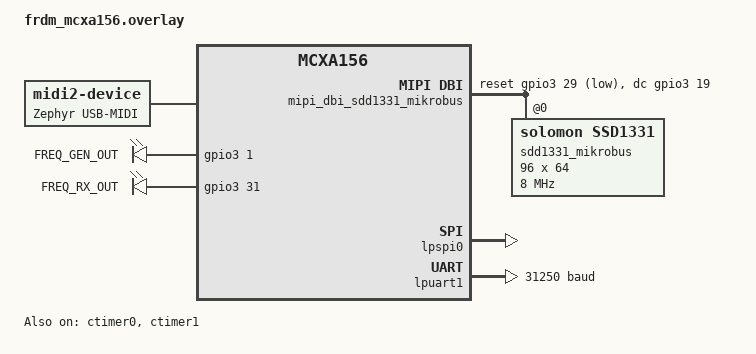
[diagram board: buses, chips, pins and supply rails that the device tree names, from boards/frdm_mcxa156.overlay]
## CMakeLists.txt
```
# @file CMakeLists.txt for MIDI1.0 driver app 
#
# @author Jan-Willem Smaal <usenet@gispen.org> 
# @date 20260119 
# SPDX-License-Identifier: Apache-2.0
cmake_minimum_required(VERSION 3.20.0)
find_package(Zephyr REQUIRED HINTS $ENV{ZEPHYR_BASE})
project(midi1_serial)

# Application logic 
FILE(GLOB app_sources src/*.c)

# Hardware and driver logic 
FILE(GLOB driver_sources drivers/*.c)

target_include_directories(app PRIVATE
	drivers
)

target_sources(app PRIVATE 
	${app_sources}
	${driver_sources}
)
```

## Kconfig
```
source "Kconfig.zephyr"
rsource "drivers/Kconfig"

# Copyright (c) 2024 Titouan Christophe
# SPDX-License-Identifier: Apache-2.0

# Copyright (c) 2023 Nordic Semiconductor ASA
# SPDX-License-Identifier: Apache-2.0

menu "USB sample options"
	depends on USB_DEVICE_STACK_NEXT

config SAMPLE_USBD_MANUFACTURER
	string "USB device sample manufacturer string"
	default "Jan-Willem Smaal"
	help
	  USB device sample manufacturer string.

config SAMPLE_USBD_PRODUCT
	string "USB device sample product string"
	default "USBD"
	help
	  USB device sample product stringa.

config SAMPLE_USBD_PID
	hex "USB device sample Product ID"
	default 0x0011
	help
	  USB device sample Product ID.

config SAMPLE_USBD_SELF_POWERED
	bool "USB device sample Self-powered attribute"
	default y
	help
	  Set the Self-powered attribute in the sample configuration.

config SAMPLE_USBD_REMOTE_WAKEUP
	bool "USB device sample Remote Wakeup attribute"
	help
	  Set the Remote Wakeup attribute in the sample configuration.

config SAMPLE_USBD_MAX_POWER
	int "USB device sample bMaxPower value"
	default 125
	range 0 250
	help
	  bMaxPower value in the sample configuration in 2 mA units.

config SAMPLE_USBD_20_EXTENSION_DESC
	bool "Use default USB 2.0 Extension Descriptor"
	depends on USBD_BOS_SUPPORT
	help
	  Set bcdUSB value to 0201 and use default USB 2.0 Extension Descriptor.

endmenu
```

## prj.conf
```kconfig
##########################################################################
# @file prj.conf
# @brief Example MIDI1.0 Zepyr application
# @note
#
# @author Jan-Willem Smaal <usenet@gispen.org
# @date 20251220
##########################################################################
CONFIG_THREAD_NAME=y
CONFIG_INIT_STACKS=y
CONFIG_STACK_SENTINEL=n
CONFIG_ASSERT=n
CONFIG_LOG=y
CONFIG_LOG_DEFAULT_LEVEL=3
CONFIG_LOG_MODE_DEFERRED=y

CONFIG_SHELL=y
CONFIG_UART_CONSOLE=y
CONFIG_CONSOLE=y
CONFIG_DEVICE_SHELL=y
CONFIG_SHELL_CMDS=y
CONFIG_KERNEL_SHELL=y
CONFIG_THREAD_MONITOR=y
CONFIG_THREAD_STACK_INFO=y
CONFIG_SYS_HEAP_RUNTIME_STATS=y



# Let's disable the boot banner because
# on the FRDM_MCXC242 overlay we use it will go out 
# the MIDI1.0 DIN port...
CONFIG_BOOT_BANNER=y

# We require serial port support with IRQ on RX.
CONFIG_SERIAL=y
CONFIG_UART_INTERRUPT_DRIVEN=y
CONFIG_MIDI1_SERIAL=y

##########################################################################
# Tune these settings to reduce the RAM footprint
##########################################################################
#CONFIG_IDLE_STACK_SIZE=128
# Heap: enough for CFB + SH1122 conversion buffer
#CONFIG_HEAP_MEM_POOL_SIZE=4096
# Stacks: enough to avoid corruption during SH1122 writes
#CONFIG_MAIN_STACK_SIZE=2048
#CONFIG_SYSTEM_WORKQUEUE_STACK_SIZE=2048
#CONFIG_ISR_STACK_SIZE=1024


##########################################################################
# Configure I2C displays 
##########################################################################
#CONFIG_I2C=y
CONFIG_DISPLAY=y
# For the board FRDM_MCXC242 I use this display SSD1306
#CONFIG_SSD1306=y
#CONFIG_SH1122=y
# If we use the board FRDM_MCXA156 we use a SSD1331
#CONFIG_SDD1331=n
#CONFIG_DISPLAY_LOG_LEVEL_DBG=y


# Enable Character Framebuffer (text rendering)
# on the FRDM_MCXC242 this will work with the SDD1306 display 
#CONFIG_HEAP_MEM_POOL_SIZE=1280

# For the SH1122 on the MCXC242 we need a lot more RAM
#CONFIG_HEAP_MEM_POOL_SIZE=4096

# trying with the FRDM_MCXA156 we use the SDD1331 display 
# this board has more RAM so let's assign a bit more. 
#CONFIG_HEAP_MEM_POOL_SIZE=2280  

#CONFIG_CHARACTER_FRAMEBUFFER=y
#CONFIG_CHARACTER_FRAMEBUFFER_USE_DEFAULT_FONTS=y

# EOF
```

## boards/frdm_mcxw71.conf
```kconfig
##########################################################################
# @brief FRDM_MCXW71 additional .conf settings
# @author Jan-Willem Smaal <usenet@gispen.org
##########################################################################

##########################################################################
# Tune these settings to reduce the RAM footprint
##########################################################################
#CONFIG_IDLE_STACK_SIZE=512
# Heap: enough for CFB + SH1122 conversion buffer
CONFIG_HEAP_MEM_POOL_SIZE=16448
# Stacks: enough to avoid corruption during SH1122 writes
#CONFIG_MAIN_STACK_SIZE=4096
#CONFIG_SYSTEM_WORKQUEUE_STACK_SIZE=2048
#CONFIG_ISR_STACK_SIZE=4096


##########################################################################
# Configure I2C displays 
##########################################################################
CONFIG_SH1122=y
CONFIG_DISPLAY_LOG_LEVEL_DBG=n
CONFIG_CHARACTER_FRAMEBUFFER=y
CONFIG_CHARACTER_FRAMEBUFFER_USE_DEFAULT_FONTS=y

# EOF
```

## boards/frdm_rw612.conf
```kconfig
##########################################################################
#0 @brief FRDM_RW612 additional .conf settings
# @author Jan-Willem Smaal <usenet@gispen.org
##########################################################################

##########################################################################
# Tune these settings to reduce the RAM footprint
##########################################################################
#CONFIG_HEAP_MEM_POOL_SIZE=60000
#CONFIG_MAIN_STACK_SIZE=409
#CONFIG_ISR_STACK_SIZE=8000

CONFIG_LOG=y
CONFIG_LVGL=y
CONFIG_LV_COLOR_DEPTH_32=y
CONFIG_DISPLAY=y

CONFIG_LOG=y
CONFIG_LVGL=y
CONFIG_LV_Z_MEM_POOL_SIZE=16384
CONFIG_DISPLAY=y
CONFIG_INPUT=y


CONFIG_LV_FONT_MONTSERRAT_12=y
CONFIG_LV_FONT_MONTSERRAT_14=y
CONFIG_LV_FONT_MONTSERRAT_16=y
CONFIG_LV_FONT_MONTSERRAT_18=y
CONFIG_LV_FONT_MONTSERRAT_24=y
CONFIG_LV_USE_FONT_COMPRESSED=y


# EOF
```

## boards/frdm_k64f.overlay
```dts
/**
 * @file frdm_k64f.overlay
 * @brief overlay for this (older) NXP board
 * @note
 * it is using a MIDI arduino shield but I disconnected
 * the 5V and connected it to 3.3V instead to protect the MCU inputs.
 * I should lower the output and input from 220R resistors to 33R but it
 * seems to "work" on some interfaces without that in some shape or form.
 *
 * @author Jan-Willem Smaal <usenet@gispen.org>
 * @date 20260102
 * SPDX-License-Identifier: Apache-2.0
 */

/*
 * Classic MIDI1.0 over DIN5 plug
 */
&uart3 {
	status = "okay";
	/* Set it to the MIDI baud rate */
	current-speed = <31250>;
};


/ {
	midi0: midi0 {
                status = "okay";
                compatible = "midi1_serial";
                uart = <&uart3>;
        };
};


/* EOF */
```

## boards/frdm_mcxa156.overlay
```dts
/**
 * @file frdm_k64f.overlay
 * @brief overlay for this board from 2024
 * @note
 *
 * Using the MCXA156 the mikroBUS socket is used for lpuart1.
 *
 * @author Jan-Willem Smaal <usenet@gispen.org>
 * @date 20260102
 * SPDX-License-Identifier: Apache-2.0
 */
&gpio3 {
	status ="okay"; 
};

/* Enable SPI on mikroBUS */
&lpspi0 {
    status = "okay";
    pinctrl-0 = <&pinmux_lpspi0>;
    pinctrl-names = "default";
};


/*
 * Classic MIDI1.0 over DIN5 plug.
 * note on the FRDM-MCXC242 the LPUART0 is shared with the MCU_LINK.
 * so be aware!   If you send printk's you need to set the baud rate
 * to 31250 from the default 115200 to see something usefull
 *
 * Also note anything you send out to the MCU_LINK will end up on the MIDI
 * port!
 *
 */
/* On the MCXA156 the mikroBUS socket J1 is on LPUART1 */
&lpuart1 {
	status = "okay";
	/* Set it to the MIDI baud rate */
	current-speed = <31250>;
};

/* We are using the periodic interrupt timer  (PIT) so switch it on */
/* DOES NOT EXIST on this board */
/*
&pit0 {
	status = "okay";
};
*/

/* Let's make sure both are enabled and act in the same way as the pit0 */
&ctimer0 {
	status = "okay";
	/* Divide 96 MHz by 4 → 24 MHz timer */
	prescale = <3>;
};
&ctimer1 {
	status = "okay";
	/* Divide 96 MHz by 4 → 24 MHz timer */
	prescale = <3>;
};

/*****************************************************************************/

/ {
	chosen {
		zephyr,display = &sdd1331_mikrobus;
};
	usb_midi: usb_midi {
		compatible = "zephyr,midi2-device";
		status = "okay";
		#address-cells = <1>;
		#size-cells = <1>;
		label = "Zephyr USB-MIDI";

		midi_in_out@0 {
			reg = <0 1>;
			protocol = "midi1-up-to-128b";
			label = "MIDI-IN-OUT";
		};
	};
	leds {
		/* Need to check pin numbers  !!! */
		compatible = "gpio-leds";
		/* Everytime a 0xF8 is sent we toggle pin C8  */
		freq_out: freq_out {
			/* gpios = <&gpioc 8 GPIO_ACTIVE_HIGH>; */
			gpios = <&gpio3 1 GPIO_ACTIVE_HIGH>;
			label = "FREQ_GEN_OUT";
		};
		/* Everytime a 0xF8 is received we toggle pin A12  */
		rx_midi_clk: rx_midi_clk{
			/* gpios = <&gpioa 12 GPIO_ACTIVE_HIGH>; */
			gpios = <&gpio3 31 GPIO_ACTIVE_HIGH>;
			label = "FREQ_RX_OUT";
		};
	};
	aliases {
		midi = &lpuart1;
		counterch0 = &ctimer0;
		counterch1 = &ctimer1;
	};
	
	/* The Display */
	mipi_dbi_sdd1331_mikrobus {
		status = "okay";
		compatible = "zephyr,mipi-dbi-spi";
		spi-dev = <&lpspi0>;
		write-only;
		#address-cells = <1>;
		#size-cells = <0>;

		/* mikroBUS GPIOs used for SPI */
		/* mikroBUS INT (pin 8) */
		dc-gpios = <&gpio3 19 GPIO_ACTIVE_HIGH>;
		/* mikroBUS RST (pin 6) */
		reset-gpios = <&gpio3 29 GPIO_ACTIVE_LOW>;

		/* Display selected via mikroBUS default CS  */
		sdd1331_mikrobus: sd1331@0 {
			status = "okay";
			compatible = "solomon,ssd1331";
			reg = <0>;
			mipi-max-frequency = <8000000>;
			width = <96>;
			height = <64>;
			mipi-mode = "MIPI_DBI_MODE_SPI_4WIRE";
			/* Default: 0 (no vertical shift) */
			display-offset = <1>;
			/* Default: 0 (start at first RAM line) */
			start-line = <0>;
			/* Default: height - 1 → 64 - 1 = 63 */
			multiplex-ratio = <63>;
			/* Default: Phase1=1, Phase2=3 → 0x31 */
			phase-length = <0x31>;
			/* Default: highest internal oscillator */
			oscillator-freq = <0xF0>;
			/* Default: 100 clocks */
			precharge-time-a = <0x64>;
			/* Default: 120 clocks */
			precharge-time-b = <0x78>;
			 /* Default: 100 clocks */
			precharge-time-c = <0x64>;
			/* Default: 0x3A (recommended) */
			precharge-voltage = <0x3A>;
			/* Default: 0x3E (recommended) */
			vcomh-voltage = <0x3E>;
			/* Default: max master current */
			current-att = <0x0F>;
			 /* Default: RGB565, normal scan, COM split */

			 /* Noise */
			/* remap-value = <0x52>; */
			remap-value = <0x60>;
			/* Works with LVGL */
			remap-value = <0x72>; 
		};
	};
};
```

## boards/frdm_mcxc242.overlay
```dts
/*
 * @brief FRDM-MCXW242 board configuration for the MIDI clock
 * @note
 * it is using a MIDI arduino shield but I disconnected
 * the 5V and connected it to 3.3V instead to protect the MCU inputs.
 * I should lower the output and input from 220R resistors to 33R but it
 * seems to "work" on some interfaces without that in some shape or form.
 *
 * @author Jan-Willem Smaal
 * @date 20250101
 * SPDX-License-Identifier: Apache-2.0
 */
 
/*
 * Classic MIDI1.0 over DIN5 plug.
 * note on the FRDM-MCXC242 the LPUART0 is shared with the MCU_LINK.
 * so be aware!   If you send printk's you need to set the baud rate
 * to 31250 from the default 115200 to see something usefull
 *
 * Also note anything you send out to the MCU_LINK will end up on the MIDI
 * port!
 *
 */
&lpuart0 {
	status = "okay";
	/* Set it to the MIDI baud rate */
	current-speed = <31250>;
};

/* This one is on the MIKRObus and is not shared with the MCU_LINK. */
&lpuart1 {
	status = "okay";
	/* Set it to the MIDI baud rate */
	current-speed = <31250>;
};

&pinctrl {
	pinmux_lpuart0: pinmux_lpuart0 {
		group0 {
			/* Strongest drive + fast edges */
			drive-strength = "high";
			slew-rate = "fast";
		};
	};
	pinmux_lpuart1: pinmux_lpuart1 {
		group0 {
			/* Strongest drive + fast edges */
			drive-strength = "high";
			slew-rate = "fast";
		};
	};
};

/* We are using the periodic interrupt timer  (PIT) so switch it on */
&pit0 {
	status = "okay";
};

/*
 * Enable these GPIO's' for the scope outputs I use this to
 * measure the clock sync on ingress and egress.
 */
&gpioa {
	status = "okay";
};

&gpioc {
	status = "okay";
};

&i2c1 {
	status = "okay";
	clock-frequency = <I2C_BITRATE_FAST>;

	ssd1306: ssd1306@3c {
		status = "okay";
		compatible = "solomon,ssd1306fb";
		reg = <0x3c>;
		label = "SSD1306";
		width = <128>;
		height = <64>;
		segment-offset = <0>; 
		page-offset = <0>;
		display-offset = <0>;
		multiplex-ratio = <63>;
		/* Had to enable this to mirror the image */ 
		com-invdir;
		/* prechargep = <0x22>; */
		/* Used for the SH1106 */
		/* prechargep = <0x1F>; */
		/* Used for the SSD1306 */
		prechargep = <0xF1>;
		/* The next one was required to flip the image */
		segment-remap;
	        inversion-on;
	        /* Critical part on the SSD1306 don't make this too long */
	        ready-time-ms = <100>;
	};
};

/* ---------------------------------------------------------------- */

/ {
	midi0: midi0 {
		status = "okay";
		compatible = "midi1_serial";
		uart = <&lpuart0>;
	};
	midi1: midi1 {
		status = "okay";
		compatible = "midi1_serial";
		uart = <&lpuart1>;
	};
	usb_midi: usb_midi {
		compatible = "zephyr,midi2-device";
		status = "okay";
		#address-cells = <1>;
		#size-cells = <1>;
		label = "Zephyr USB-MIDI";

		midi_in_out@0 {
			reg = <0 1>;
			protocol = "midi1-up-to-128b";
			label = "MIDI-IN-OUT";
		};
	};
	leds {
		compatible = "gpio-leds";
		/* Everytime a 0xF8 is sent we toggle pin C8  */
		freq_out: freq_out {
			gpios = <&gpioc 8 GPIO_ACTIVE_HIGH>;
			label = "FREQ_GEN_OUT";
		};
		/* Everytime a 0xF8 is received we toggle pin A12  */
		rx_midi_clk: rx_midi_clk{
			gpios = <&gpioa 12 GPIO_ACTIVE_HIGH>;
			label = "FREQ_RX_OUT";
		};
	};
	aliases {
		midi = &lpuart0;
		counterch0 = &pit0_channel0;
		counterch1 = &pit0_channel1;
	};
	chosen {
                zephyr,display = &ssd1306; 
        };
};
```

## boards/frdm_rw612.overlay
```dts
/*
 * Device tree overlay created for the FRDM_RW612 development kit 
 * adjusted  so that we can use it for MIDI out.  
 * by Jan-Willem Smaal <usenet@gispen.org>
 * on 20241223 
 */

/* 
 * Configured with the MIDI BAUD rate of 31250 
 * This is the USART on the MIDI arduino shield. 
 * GPIO 8 and 9. 
 */
&flexcomm1 {
	compatible = "nxp,lpc-usart";
	status = "okay";
	current-speed = <31250>;
	pinctrl-0 = <&pinmux_flexcomm1_usart>;
	pinctrl-names = "default";
};

/* 
 * We want to set flexcomm1 to USART instead of the default. 
 * this is why we need to set the pinmux here. 
 */
&pinctrl {
	pinmux_flexcomm1_usart: pinmux_flexcomm1_usart {
		group0 {
			pinmux = <IO_MUX_FC1_USART_DATA>;
			slew-rate = "normal";
		};
	};
};

/ {
	midi0: midi0 {
		status = "okay";
		compatible = "midi1_serial";
		uart = <&flexcomm1>;
	};
};

/* EOF */
```

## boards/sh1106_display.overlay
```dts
/** 
 * @brief overlay file for the SH1122 display driver
 * @author Jan-Willem Smaal <usenet@gispen.org>
 */

&i2c1{
	status = "okay";
	clock-frequency = <I2C_BITRATE_FAST>;

	sh1106: ssd1306@3c {
		status = "okay";
		// compatible = "solomon,ssd1306fb";
		compatible = "sinowealth,sh1106";
		reg = <0x3c>;
		label = "SH1106";
		width = <128>;
		height = <64>;
		segment-offset = <2>;
		page-offset = <0>;
		display-offset = <0>;
		multiplex-ratio = <63>;
		/* Had to enable this to mirror the image */ 
		com-invdir;
		/* prechargep = <0x22>; */
		prechargep = <0x1F>;
		/* The next one was required to flip the image */
		segment-remap;
	        /*	inversion-on; */
	        ready-time-ms = <100>;
	};
};


/* ---------------------------------------------------------------- */

/ {
	chosen {
                zephyr,display = &sh1106; 
        };
};
```

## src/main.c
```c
/**
 * @brief MIDI 1.0 implementation on serial UART for Zephyr
 *
 * @author Jan-Willem Smaal <usenet@gispen.org>
 * @date 20260107
 *
 * license SPDX-License-Identifier: Apache-2.0
 */
#include <stdio.h>
#include <zephyr/device.h>
#include <zephyr/kernel.h>
#include <zephyr/devicetree.h>
#include <zephyr/sys/printk.h>

/* Moved to ../drivers */
#include "midi1_serial.h"

/* Some helpers to print out the note name */
#include "note.h"

/**
 * @brief Callbacks/delegates for 'midi1_serial.c' after parsing MIDI1.0
 *
 * @note
 * Do not block in these function as they are called from the MIDI
 * parser this one is blocked untill the delegate is finished.
 * It's better if you have something running for a longer time
 * to fire off a workqueue. 
 */
void note_on_handler(uint8_t channel, uint8_t note, uint8_t velocity)
{
	printk("Note  on: %s %03d %03d\n", noteToTextWithOctave(note, false),
	       note, velocity);
}

void note_off_handler(uint8_t channel, uint8_t note, uint8_t velocity)
{
	printk("Note off: %s %03d %03d\n", noteToTextWithOctave(note, false),
	       note, velocity);
}

void pitchwheel_handler(uint8_t channel, uint8_t lsb, uint8_t msb)
{
	/* 14 bit value for the pitch wheel  */
	int16_t pwheel = (int16_t) ((msb << 7) | lsb) - PITCHWHEEL_CENTER;
	/* print on the serial out */
	printk("Pitchwheel: %d\n", pwheel);
}

void control_change_handler_model(uint8_t channel,
                                  uint8_t controller, uint8_t value)
{
	printk("CC: %d %d\n", controller, value);
}

void control_change_handler(uint8_t channel, uint8_t controller, uint8_t value)
{
	printk("CC: %d %d\n", controller, value);
}

void realtime_handler(uint8_t msg)
{
	printk("Realtime: %d\n", msg);
}

void sysex_start_handler(void)
{
	printk("sysex_start_handler()\n");
}

void sysex_data_handler(uint8_t data)
{
	printk("%x ", data);
}

void sysex_stop_handler(void)
{
	printk("\nsysex_stop_handler()\n");
}

/* ---------------------------- THREADS ------------------------------------ */

/**
 * Serial receive parser thread - receiveparser keeps reading data
 * filled by the ISR and then calls callbacks.
 */
void midi1_serial_receive_thread(void)
{
	const struct device *midi = DEVICE_DT_GET(DT_NODELABEL(midi0));

	if (!device_is_ready(midi)) {
		printk("receive_thread Serial MIDI1 device not ready\n");
		return;
	}
	const struct midi1_serial_api *mid = midi->api;

	/*
	 * Set the callbacks in the driver to our own callbacks.  Pointers
	 * left null are not used in the callbacks.
	 * e.g. right now the aftertouch is not handled.
	 */
	struct midi1_serial_callbacks my_cb = {
		.note_on = note_on_handler,
		.note_off = note_off_handler,
		.control_change = control_change_handler,
		.pitchwheel = pitchwheel_handler,
		.sysex_start = sysex_start_handler,
		.sysex_data = sysex_data_handler,
		.sysex_stop = sysex_stop_handler
	};
	/* midi1_serial_register_callbacks(midi, &my_cb); */
	mid->register_callbacks(midi, &my_cb);

	while (1) {
		/* As this call is blocking no need to sleep in between */
		mid->receiveparser(midi);
	}
}

K_THREAD_DEFINE(midi1_serial_receive_tid, 512,
                midi1_serial_receive_thread, NULL, NULL, NULL, 5, 0, 0);

/**
 * Main thread - this may actually terminate normally (code 0) in zephyr.
 * and the rest of threads keeps running just fine.
 */
int main(void)
{
	const struct device *midi = DEVICE_DT_GET(DT_NODELABEL(midi0));
	if (!device_is_ready(midi)) {
		printk("Serial MIDI1 device not ready\n");
		return 0;
	}
	/* You can either use the pointer to the API or the public interface */
	const struct midi1_serial_api *mid = midi->api;

	/* Using the API pointer */
	mid->note_on(midi, CH4, 1, 60);
	k_sleep(K_MSEC(290));

	/* Using the public interface for the driver same effect */
	midi1_serial_note_off(midi, CH4, 1, 60);
	k_sleep(K_MSEC(290));

	while (1) {
		/* Running status is used < 300 ms */
		for (uint8_t value = 0; value < 16; value++) {
			/* CC1 sweep */
			//midi1_serial_control_change(midi, CH16, 1, value);
			mid->control_change(midi, CH16, 1, value);
			k_sleep(K_MSEC(290));
		}
		/* Running status is not used > 300 ms */
		for (uint8_t value = 0; value < 16; value++) {
			/* note sweep */
			//midi1_serial_note_on(midi, CH7, value, 100);
			mid->note_on(midi, CH7, value, 100);
			k_sleep(K_MSEC(310));
		}
		/* Send as quickly as the uart poll out will allow */
		for (uint8_t value = 0; value < 16; value++) {
			/* note off sweep */
			//midi1_serial_note_off(midi, CH7, value, 100);
			mid->note_off(midi, CH7, value, 100);
		}
		for (uint8_t value = 0; value < 16; value++) {
			// midi1_serial_start(midi);
			mid->start(midi);
			k_sleep(K_MSEC(100));
			for (uint8_t i = 0; i < 128; i++) {
				// midi1_serial_timingclock(midi);
				mid->timingclock(midi);
				k_sleep(K_MSEC(20));
			}
			// midi1_serial_stop(midi);
			mid->stop(midi);
			k_sleep(K_MSEC(100));
		}
	}
	return 0;
}

/* EOF */
```

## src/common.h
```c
#ifndef COMMON_H
#define COMMON_H
/**
 * Common stuff
 *
 * @author Jan-Willem Smaal <usenet@gispen.org>
 * @date 20260107
 *
 * license SPDX-License-Identifier: Apache-2.0
 */
#include <stdio.h>
#include <zephyr/device.h>
#include <zephyr/kernel.h>
#include <zephyr/devicetree.h>
#include <zephyr/sys/printk.h>
#include <zephyr/devicetree.h>
#include <zephyr/drivers/display.h>
#include <zephyr/display/cfb.h>

#include <lvgl.h>
#include <string.h>
#include <zephyr/logging/log.h>

#define MIDI_LINE_MAX 128

#define MIDI_MSGQ_MAX 3
/* Defined in midi1_receive_thread */
extern struct k_msgq midi_msgq;
extern struct k_msgq midi_raw_msgq;

/* just a struct we pass to be able to draw a bar */
struct midi1_raw {
	uint8_t channel;
	uint8_t p1;
	uint8_t p2;
};


#endif
```

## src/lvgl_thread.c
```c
/**
 * LVGL stuff
 *
 * @author Jan-Willem Smaal <usenet@gispen.org>
 * @date 20260107
 *
 * license SPDX-License-Identifier: Apache-2.0
 */
#include <stdio.h>
#include <zephyr/device.h>
#include <zephyr/kernel.h>
#include <zephyr/devicetree.h>
#include <zephyr/sys/printk.h>
#include <zephyr/devicetree.h>
#include <zephyr/drivers/display.h>
#include <zephyr/display/cfb.h>

#include <lvgl.h>
#include <string.h>
#include <zephyr/logging/log.h>

#include "common.h"

LOG_MODULE_REGISTER(lvgl_screen1, CONFIG_LOG_DEFAULT_LEVEL);
/*
 *  GLOBALS
 */
static lv_obj_t *label_title;
static lv_obj_t *label_bpm;
static lv_obj_t *label_channel;
static lv_obj_t *ta_midi;
static lv_obj_t *level_bar;
#define LED_COUNT 16
static lv_obj_t *leds[LED_COUNT];

/*
 *  GUI INITIALIZATION (480×320 landscape)
 */
void ui_set_led_level(uint8_t value)
{
	int lit = (value * LED_COUNT) / 128;
	
	/* Should check if led != 0 */
	for (int i = 0; i < LED_COUNT; i++) {
		if (i < lit) {
			lv_led_on(leds[LED_COUNT - 1 - i]);

		} else {
			lv_led_off(leds[LED_COUNT - 1 - i]);
		}
	}
}


static void initialize_gui2(void)
{
	/* Screen background (solid black, no transparency) */
	lv_obj_set_style_bg_color(lv_screen_active(),
				  lv_color_black(), LV_PART_MAIN);
	lv_obj_set_style_bg_opa(lv_screen_active(), LV_OPA_COVER, LV_PART_MAIN);
	
	/* Default text: white, size 14 */
	lv_obj_set_style_text_color(lv_screen_active(),
				    lv_color_white(), LV_PART_MAIN);
	lv_obj_set_style_text_font(lv_screen_active(),
				   &lv_font_montserrat_14, LV_PART_MAIN);
	/* =====================================================
	 *  TOP BAR
	 * ===================================================== */
	/* Left: static title */
	label_title = lv_label_create(lv_screen_active());
	lv_label_set_text(label_title, "MIDI Monitor ");
	lv_obj_align(label_title, LV_ALIGN_TOP_LEFT, 6, 4);
}

static void initialize_gui(void)
{
	/* Screen background (solid black, no transparency) */
	lv_obj_set_style_bg_color(lv_screen_active(),
	                          lv_color_black(), LV_PART_MAIN);
	lv_obj_set_style_bg_opa(lv_screen_active(), LV_OPA_COVER, LV_PART_MAIN);

	/* Default text: white, size 14 */
	lv_obj_set_style_text_color(lv_screen_active(),
	                            lv_color_white(), LV_PART_MAIN);
	lv_obj_set_style_text_font(lv_screen_active(),
	                           &lv_font_montserrat_14, LV_PART_MAIN);

	/* =====================================================
	 *  TOP BAR
	 * ===================================================== */
	/* Left: static title */
	label_title = lv_label_create(lv_screen_active());
	lv_label_set_text(label_title, "MIDI Monitor by J-W Smaal v0.1");
	lv_obj_align(label_title, LV_ALIGN_TOP_LEFT, 6, 4);

	/* Right: BPM in larger font */
	label_bpm = lv_label_create(lv_screen_active());
	lv_obj_set_style_text_font(label_bpm,
	                           &lv_font_montserrat_18, LV_PART_MAIN);
	lv_obj_set_style_text_color(label_bpm,
				    lv_color_hex(0xff0000),   /* Red */
				    LV_PART_MAIN);
	lv_label_set_text(label_bpm, " 123.89 BPM");
	lv_obj_align(label_bpm, LV_ALIGN_TOP_RIGHT, 0, 0);
	
	
	/* Left: Channel on the left */
	label_channel = lv_label_create(lv_screen_active());
	lv_obj_set_style_text_font(label_channel,
				   &lv_font_montserrat_18, LV_PART_MAIN);
	lv_obj_set_style_text_color(label_channel,
				    lv_color_hex(0x006400),   /* dark green */
				    LV_PART_MAIN);
	lv_label_set_text(label_channel, "CHxx");
	lv_obj_align(label_channel, LV_ALIGN_BOTTOM_LEFT, 0, 0);

	/* =====================================================
	 *  CENTER: LARGE SCROLLABLE TEXT WINDOW
	 * ===================================================== */
	ta_midi = lv_textarea_create(lv_screen_active());
	//lv_label_set_recolor(ta_midi, true);
	lv_obj_set_style_text_font(ta_midi,
				   &lv_font_montserrat_18, LV_PART_MAIN);

	/* Size: nearly full screen minus top and bottom bar */
	lv_obj_set_size(ta_midi, 390, 220);
	lv_obj_align(ta_midi, LV_ALIGN_TOP_LEFT, 6, 40);

	/* No transparency */
	lv_obj_set_style_bg_color(ta_midi, lv_color_black(), LV_PART_MAIN);
	lv_obj_set_style_bg_opa(ta_midi, LV_OPA_COVER, LV_PART_MAIN);

	/* Whitetext by default */
	lv_obj_set_style_text_color(ta_midi, lv_color_white(), LV_PART_MAIN);

	lv_textarea_set_text(ta_midi, "");
	lv_textarea_set_max_length(ta_midi, 4096);
	lv_textarea_set_cursor_click_pos(ta_midi, false);
	
	
	/*
	 * Level bar
	 */
	level_bar = lv_bar_create(lv_screen_active());
	
	/* MIDI range: 0–127 */
	lv_bar_set_range(level_bar, 0, 127);
	
	/* Size and position */
	lv_obj_set_size(level_bar, 240, 20);   /* width, height */
	lv_obj_align(level_bar, LV_ALIGN_BOTTOM_MID, 0, 0);
	
#if 0
	lv_obj_set_style_bg_color(level_bar,
				  lv_color_hex(0x00A000),
				  LV_PART_INDICATOR);
#endif
		
#define LED_COUNT 16
	for (int i = 0; i < LED_COUNT; i++) {
		leds[i] = lv_led_create(lv_screen_active());
		
		/* LED size */
		lv_obj_set_size(leds[i], 10, 10);
		
		/* Vertical placement: top LED at top, bottom LED at bottom */
		lv_obj_align(leds[i],
			     LV_ALIGN_RIGHT_MID,
			     -4,     /* X offset from right edge */
			     -((LED_COUNT - 1) * 12) / 2 + i * 12);
		
	}
	
	//ui_set_led_level(64);
}


static void ui_set_bar(const struct midi1_raw mid_raw)
{
	if (!level_bar) {
		return;
	}
	uint8_t v = mid_raw.p2;
	lv_bar_set_value(level_bar, v, LV_ANIM_OFF);
}





static void ui_set_line(const char *msg)
{
	if (!label_title) {
		return;
	}

	char buf[MIDI_LINE_MAX];
	snprintf(buf, sizeof(buf), "%s", msg);
	lv_textarea_set_text(label_title, buf);
}


#define MAX_MIDI_LINES 9
static int midi_line_count = 0;
static void ui_add_line2(const char *msg) {
	if (!ta_midi) {
		return;
	}

	lv_textarea_set_text(ta_midi, "");
}

static void ui_add_line(const char *msg)
{
	if (!ta_midi) {
		return;
	}
	
	/* If full, clear everything */
	if (midi_line_count >= MAX_MIDI_LINES) {
		lv_textarea_set_text(ta_midi, "");
		midi_line_count = 0;
	}
	
	/* Format new line */
	char buf[MIDI_LINE_MAX];
	snprintf(buf, sizeof(buf), "%s\n", msg);
	
	/* Append */
	lv_textarea_add_text(ta_midi, buf);
	midi_line_count++;
}

#define MAX_MESSAGES_PER_TICK 3
void lvgl_thread(void)
{
	const struct device *display_dev;
	int ret;

	display_dev = DEVICE_DT_GET(DT_CHOSEN(zephyr_display));
	if (!device_is_ready(display_dev)) {
		LOG_ERR("Device not ready, aborting test");
		return;
	}

	initialize_gui();
	lv_timer_handler();
	ret = display_blanking_off(display_dev);
	if (ret < 0 && ret != -ENOSYS) {
		LOG_ERR("Failed to turn blanking off (error %d)", ret);
		return;
	}
	ui_add_line("...");
	initialize_gui();
	
	char line[MIDI_LINE_MAX];
	struct midi1_raw mid_raw;
	while (1) {
		int processed = 0;
		
		/* Process at most N messages per iteration */
		while (processed < MAX_MESSAGES_PER_TICK &&
		       k_msgq_get(&midi_msgq, line, K_NO_WAIT) == 0) {
			ui_add_line(line);
			//ui_set_line(line);
			processed++;
		}
		uint32_t sleep_ms = lv_timer_handler();
		k_msleep(sleep_ms);
		
		/* The raw midi stuff  that updates the bar */
		while (processed < MAX_MESSAGES_PER_TICK &&
			k_msgq_get(&midi_raw_msgq, &mid_raw, K_NO_WAIT) == 0) {
			ui_set_bar(mid_raw);
			ui_set_led_level(mid_raw.p1);
			processed++;
		}
		sleep_ms = lv_timer_handler();
		k_msleep(sleep_ms);
	}
	return;
}


/* For LVGL had to increase the stack size */
K_THREAD_DEFINE(lvgl_thread_tid, 8192, lvgl_thread, NULL, NULL, NULL, 5, 0, 0);

/* EOF */
```

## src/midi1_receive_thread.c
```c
/**
 * @brief MIDI 1.0 receive thread.
 *
 * @author Jan-Willem Smaal <usenet@gispen.org>
 * @date 20260107
 *
 * license SPDX-License-Identifier: Apache-2.0
 */
#include <stdio.h>
#include <zephyr/device.h>
#include <zephyr/kernel.h>
#include <zephyr/devicetree.h>
#include <zephyr/sys/printk.h>
#include <zephyr/devicetree.h>
#include <zephyr/drivers/display.h>
#include <zephyr/display/cfb.h>

#include <lvgl.h>
#include <string.h>
#include <zephyr/logging/log.h>
LOG_MODULE_REGISTER(midi1_receive_thread, CONFIG_LOG_DEFAULT_LEVEL);

/* Moved to ../drivers */
#include "midi1_serial.h"

/* Some helpers to print out the note name */
#include "note.h"

/* Common stuff in the MIDI monitor application */
#include "common.h"

K_MSGQ_DEFINE(midi_msgq, MIDI_LINE_MAX, MIDI_MSGQ_MAX, 4);
K_MSGQ_DEFINE(midi_raw_msgq, MIDI_LINE_MAX, MIDI_MSGQ_MAX, 4);
/**
 * @brief Callbacks/delegates for 'midi1_serial.c' after parsing MIDI1.0
 *
 * @note
 * Do not block in these
 * parser this one is blocked untill the delegate is finished.
 * It's better if you have something running for a longer time
 * to fire off a workqueue.
 *
 * It's channel + 1 because 0 = CH1 in MIDI.
 */
void note_on_handler(uint8_t channel, uint8_t note, uint8_t velocity)
{
	char line[MIDI_LINE_MAX];
	struct midi1_raw mid_raw = {
		.channel = channel,
		.p1 = note,
		.p2 = velocity
	};
	k_msgq_put(&midi_raw_msgq, &mid_raw, K_NO_WAIT);
	
	snprintf(line, sizeof(line), "CH: %d -> Note  on: %s %03d %03d",
	         channel + 1,
	         noteToTextWithOctave(note, false), note, velocity);
	LOG_INF("%s", line);
	k_msgq_put(&midi_msgq, line, K_NO_WAIT);
}

void note_off_handler(uint8_t channel, uint8_t note, uint8_t velocity)
{
	char line[MIDI_LINE_MAX];
	struct midi1_raw mid_raw = {
		.channel = channel,
		.p1 = note,
		.p2 = velocity
	};
	k_msgq_put(&midi_raw_msgq, &mid_raw, K_NO_WAIT);
	
	snprintf(line, sizeof(line), "CH: %d -> Note  off: %s %03d %03d",
	         channel + 1,
	         noteToTextWithOctave(note, false), note, velocity);
	LOG_INF("%s", line);
	k_msgq_put(&midi_msgq, line, K_NO_WAIT);
}

void pitchwheel_handler(uint8_t channel, uint8_t lsb, uint8_t msb)
{
	/* 14 bit value for the pitch wheel  */
	int16_t pwheel = (int16_t) ((msb << 7) | lsb) - PITCHWHEEL_CENTER;

	char line[MIDI_LINE_MAX];
	snprintf(line, sizeof(line), "CH: %d -> Pitchwheel: %d",
	         channel + 1, pwheel);
	LOG_INF("%s", line);
	k_msgq_put(&midi_msgq, line, K_NO_WAIT);

}

#if 0
void control_change_handler_model(uint8_t channel,
                                  uint8_t controller, uint8_t value)
{
	char line[MIDI_LINE_MAX];
	
	snprintf(line, sizeof(line), "CH: %d -> CC: %d value: %d",
	         channel + 1, controller, value);
	LOG_INF("%s", line);
	k_msgq_put(&midi_msgq, line, K_NO_WAIT);
}
#endif

void control_change_handler(uint8_t channel, uint8_t controller, uint8_t value)
{
	char line[MIDI_LINE_MAX];
	struct midi1_raw mid_raw = {
		.channel = channel,
		.p1 = controller,
		.p2 = value
	};
	k_msgq_put(&midi_raw_msgq, &mid_raw, K_NO_WAIT);
	
	snprintf(line, sizeof(line), "CH: %d -> CC: %d value: %d",
	         channel + 1, controller, value);
	LOG_INF("%s", line);
	k_msgq_put(&midi_msgq, line, K_NO_WAIT);
}

void realtime_handler(uint8_t msg)
{
	LOG_INF("Realtime: %d", msg);
}

void sysex_start_handler(void)
{
	LOG_INF("sysex_start_handler()");
}

void sysex_data_handler(uint8_t data)
{
	LOG_INF("%x ", data);
}

void sysex_stop_handler(void)
{
	LOG_INF("sysex_stop_handler()");
}

/* ---------------------------- THREADS ------------------------------------ */

/**
 * Serial receive parser thread - receiveparser keeps reading data
 * filled by the ISR and then calls callbacks.
 */
void midi1_serial_receive_thread(void)
{
	const struct device *midi = DEVICE_DT_GET(DT_NODELABEL(midi0));

	if (!device_is_ready(midi)) {
		LOG_ERR("receive_thread Serial MIDI1 device not ready");
		return;
	}
	const struct midi1_serial_api *mid = midi->api;

	/*
	 * Set the callbacks in the driver to our own callbacks.  Pointers
	 * left null are not used in the callbacks.
	 * e.g. right now the aftertouch is not handled.
	 */
	struct midi1_serial_callbacks my_cb = {
		.note_on = note_on_handler,
		.note_off = note_off_handler,
		.control_change = control_change_handler,
		.pitchwheel = pitchwheel_handler,
		.sysex_start = sysex_start_handler,
		.sysex_data = sysex_data_handler,
		.sysex_stop = sysex_stop_handler
	};
	/* midi1_serial_register_callbacks(midi, &my_cb); */
	mid->register_callbacks(midi, &my_cb);

	while (1) {
		/* As this call is blocking no need to sleep in between */
		mid->receiveparser(midi);
	}
}

K_THREAD_DEFINE(midi1_serial_receive_tid, 4096,
                midi1_serial_receive_thread, NULL, NULL, NULL, 5, 0, 0);

/* EOF */
```
